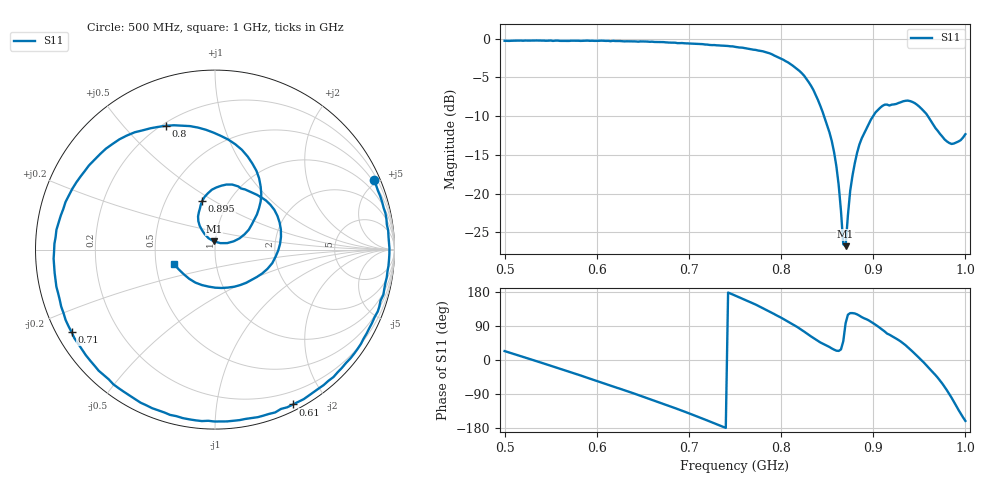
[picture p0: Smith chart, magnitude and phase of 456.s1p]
#  HZ  S  DB  R  50.00
! Rohde & Schwarz ZVA67 4Ports - Version 4.00 - 1305.7002k04 SN: 101051
! Date: 2012-05-12 16:27:58
! Measurement: S22
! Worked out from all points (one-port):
!   201 points, 500 MHz to 1 GHz, reference 50 ohm
!   lowest |S11| = -26.8 dB at 870 MHz (marker M1), VSWR 1.10, Z = 49.2 + j4.5 ohm
!   |S11| at or under -10 dB: 846.6 MHz to 899.9 MHz (53.29 MHz wide, 6.1 % of centre); 959.2 MHz to end of sweep
!   S11 on the Smith chart (normalised r, x): 500 MHz: 0.40, +4.78; 610 MHz: 0.06, -1.62; 710 MHz: 0.04, -0.27; 800 MHz: 0.21, +0.66; 895 MHz: 0.75, +0.45; 1 GHz: 0.62, -0.11
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5e8  -0.29 23.5
5.325e8  -0.25 -1.4
5.625e8  -0.30 -25.1
6.1e8  -0.31 -63.3
6.25e8  -0.32 -75.6
6.55e8  -0.39 -100.8
6.875e8  -0.59 -129.4
7.1e8  -0.71 -150.1
7.325e8  -0.89 -171.8
7.5e8  -1.07 170.2
7.725e8  -1.47 146.2
8e8  -2.58 111.7
8.125e8  -3.48 94.4
8.325e8  -6.09 62.2
8.525e8  -12.10 34.3
8.6e8  -16.46 24.6
8.65e8  -22.23 28.0
8.675e8  -26.52 49.6
8.7e8  -26.76 96.9
8.75e8  -19.63 123.8
8.825e8  -14.72 120.4
8.95e8  -11.02 104.7
9.125e8  -8.52 75.1
9.375e8  -8.00 33.8
9.525e8  -9.07 -0.9
9.725e8  -12.30 -54.4
9.875e8  -13.53 -109.9
1e9  -12.33 -160.8
